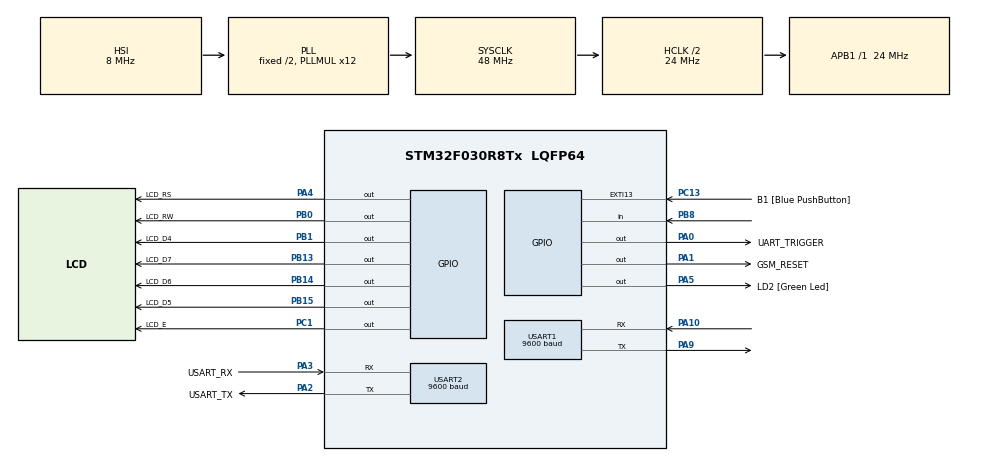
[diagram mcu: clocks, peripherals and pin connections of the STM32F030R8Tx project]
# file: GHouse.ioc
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Mcu.Family=STM32F0
Mcu.Name=STM32F030R8Tx
Mcu.Package=LQFP64
NVIC.TIM15_IRQn=true\:0\:0\:false\:false\:true\:true\:true\:true
NVIC.TIM6_IRQn=true\:0\:0\:false\:false\:true\:true\:true\:true
NVIC.USART1_IRQn=true\:0\:0\:false\:false\:true\:true\:true\:true
NVIC.USART2_IRQn=true\:0\:0\:false\:false\:true\:true\:true\:true
PA0.GPIO_Label=UART_TRIGGER
PA0.Signal=GPIO_Output
PA1.GPIO_Label=GSM_RESET
PA1.GPIO_PuPd=GPIO_PULLDOWN
PA1.PinState=GPIO_PIN_SET
PA1.Signal=GPIO_Output
PA10.Mode=Asynchronous
PA10.Signal=USART1_RX
PA13.GPIO_Label=TMS
PA13.Signal=SYS_SWDIO
PA14.GPIO_Label=TCK
PA14.Signal=SYS_SWCLK
PA2.GPIO_Label=USART_TX
PA2.GPIO_Mode=GPIO_MODE_AF_PP
PA2.GPIO_PuPd=GPIO_NOPULL
PA2.GPIO_Speed=GPIO_SPEED_FREQ_LOW
PA2.Mode=Asynchronous
PA2.Signal=USART2_TX
PA3.GPIO_Label=USART_RX
PA3.GPIO_Mode=GPIO_MODE_AF_PP
PA3.GPIO_PuPd=GPIO_NOPULL
PA3.GPIO_Speed=GPIO_SPEED_FREQ_LOW
PA3.Mode=Asynchronous
PA3.Signal=USART2_RX
PA4.GPIO_Label=LCD_RS
PA4.Signal=GPIO_Output
PA5.GPIO_Label=LD2 [Green Led]
PA5.GPIO_Mode=GPIO_MODE_OUTPUT_PP
PA5.GPIO_PuPd=GPIO_NOPULL
PA5.GPIO_Speed=GPIO_SPEED_FREQ_LOW
PA5.Signal=GPIO_Output
PA9.Mode=Asynchronous
PA9.Signal=USART1_TX
PB0.GPIO_Label=LCD_RW
PB0.Signal=GPIO_Output
PB1.GPIO_Label=LCD_D4
PB1.Signal=GPIO_Output
PB13.GPIO_Label=LCD_D7
PB13.Signal=GPIO_Output
PB14.GPIO_Label=LCD_D6
PB14.Signal=GPIO_Output
PB15.GPIO_Label=LCD_D5
PB15.Signal=GPIO_Output
PB8.Signal=GPIO_Input
PC1.GPIO_Label=LCD_E
PC1.Signal=GPIO_Output
PC13.GPIO_Label=B1 [Blue PushButton]
PC13.GPIO_ModeDefaultEXTI=GPIO_MODE_IT_FALLING
PC13.Signal=GPXTI13
PC14-OSC32_IN.Signal=RCC_OSC32_IN
PC15-OSC32_OUT.Signal=RCC_OSC32_OUT
PF0-OSC_IN.Signal=RCC_OSC_IN
PF1-OSC_OUT.Signal=RCC_OSC_OUT
ProjectManager.HeapSize=0x200
ProjectManager.StackSize=0x400
ProjectManager.TargetToolchain=MDK-ARM V5.32
RCC.AHBCLKDivider=RCC_SYSCLK_DIV2
RCC.AHBFreq_Value=24000000
RCC.APB1Freq_Value=24000000
RCC.APB1TimFreq_Value=24000000
RCC.HCLKFreq_Value=24000000
RCC.I2c1ClockSelection=RCC_I2C1CLKSOURCE_SYSCLK
RCC.PLLMUL=RCC_PLL_MUL12
RCC.SYSCLKFreq_VALUE=48000000
RCC.SYSCLKSource=RCC_SYSCLKSOURCE_PLLCLK
TIM15.Period=60000
TIM15.Prescaler=24000-1
TIM3.AutoReloadPreload=TIM_AUTORELOAD_PRELOAD_DISABLE
TIM3.ClockDivision=TIM_CLOCKDIVISION_DIV1
TIM3.Prescaler=96-1
TIM6.Period=3000
TIM6.Prescaler=24000-1
USART1.BaudRate=9600
USART1.VirtualMode-Asynchronous=VM_ASYNC
USART2.BaudRate=9600
USART2.VirtualMode-Asynchronous=VM_ASYNC
VP_TIM15_VS_ClockSourceINT.Mode=Internal
VP_TIM3_VS_ClockSourceINT.Mode=Internal
VP_TIM6_VS_ClockSourceINT.Mode=Enable_Timer
board=NUCLEO-F030R8

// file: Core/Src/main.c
/* USER CODE BEGIN Header */
/**
  ******************************************************************************
  * @file           : main.c
  * @brief          : Main program body
  ******************************************************************************
  * @attention
  *
  * Copyright (c) 2022 STMicroelectronics.
  * All rights reserved.
  *
  * This software is licensed under terms that can be found in the LICENSE file
  * in the root directory of this software component.
  * If no LICENSE file comes with this software, it is provided AS-IS.
  *
  ******************************************************************************
  */
/* USER CODE END Header */
#include "main.h"
#include "tim.h"
#include "usart.h"
#include "gpio.h"

/* USER CODE BEGIN Includes */
//#include "i2c-lcd.h"
//#include "dht22.h"
#include <stdio.h>
#include <string.h>
#include <cstdlib>
#include <lcd2004-parallel.h>

/* USER CODE END Includes */

/* USER CODE BEGIN PD */
#define gsmUART 								huart2
#define wifi_uart 							huart1
#define DATA_MESSAGE_BUFF_SIZE 	42
#define OUT_DATA_IDX						0
#define GWH_DATA_IDX						1
#define GSM_RESET_TIME_MS 			300//reset_A6 pin of gsm A6 pulled low for (ms)
#define GSM_MAX_SYNC_SENDS			10 		//maximum count of AT sends before resetting GSM module
#define GSM_PUSH_INTERVAL_MIN		5

typedef struct
  {
		char id[4];
		float humidity, temperature;
		int time_index;
		//char *humStr, *tempStr, *id_str;
  } DHT_DataStore, ptrDHT_DataStore;

/* USER CODE END PD */

/* USER CODE BEGIN PV */
	char API_KEY[] = "NEX4VYBFJEKPI156";//Debug: "E7BV47IONFYVV2LA";// G-House : "NEX4VYBFJEKPI156";

DHT_DataStore init_data = {"-I-", 3.3, -99.9, 5};
DHT_DataStore new_data = {"-N-", 3.3, -99.9, 5};
DHT_DataStore last_OUT_data, last_GWH_data;
DHT_DataStore *last_data_sets[2] = {&init_data, &init_data};

char wifi_rx_buffer[DATA_MESSAGE_BUFF_SIZE] = {0};
volatile uint8_t buf[256] = {0};
uint8_t one_buf[1] = {0};
char msg[50];
char cmd[50];
int flag = 1;
int tim15_cnt = 0;
int cnt = 0;
uint32_t check;

// FLAGS -------------------------------------------------------------
int DATA_RXD_FLAG = 0;
int GSM_TEST_FLAG = 1;
int POLL_DATA_TRIGGER_FLAG = 0;
int PUSH_DATA_GSM_FLAG = 0;
int GSM_UART_RXD_ZERO = 0;
int GSM_UART_ONE_BUFF = 0;

/* USER CODE END PV */

void SystemClock_Config(void);
/* USER CODE BEGIN PFP */
/*void delay (uint16_t us);
void Set_Pin_Output (GPIO_TypeDef *GPIOx, uint16_t GPIO_PIN);
void Set_Pin_Input (GPIO_TypeDef *GPIOx, uint16_t GPIO_PIN);
void DHT22_Start (void);
uint8_t DHT22_Check_Response (void);
uint8_t DHT22_Read_Byte (void);
void DHT22_GetData(DHT_DataTypedef *DHT_Data);*/

int pollData_UART(DHT_DataStore *data);// uint8_t buffer[]);
int pollData_UART_IT(DHT_DataStore *data);
int pollData_UART_Serial(DHT_DataStore *data);
void saveData(char message[], DHT_DataStore *data);
void display_DHTData_LCD(DHT_DataStore *data);
void setup_DataDisplay_LCD();
int is_empty(char *buf, size_t size);

void send_GSM_Data();
int check_A6(void);
void send_String_A6(const char* cmd, uint16_t timeout);
void reset_A6();

//void SWRST_I2C2();
/* USER CODE END PFP */

int main(void)
{

  /* MCU Configuration--------------------------------------------------------*/

  /* Reset of all peripherals, Initializes the Flash interface and the Systick. */
  HAL_Init();

  /* Configure the system clock */
  SystemClock_Config();

  /* Initialize all configured peripherals */
  MX_GPIO_Init();
  MX_TIM3_Init();
  MX_USART2_UART_Init();
  MX_USART1_UART_Init();
  MX_TIM6_Init();
  MX_TIM15_Init();
  /* USER CODE BEGIN 2 */
	HAL_TIM_Base_Start(&htim3);
	HAL_TIM_Base_Start_IT(&htim6);
	HAL_TIM_Base_Start_IT(&htim15);

	lcd_init ();
	lcd_set_cursor_to_line(1); //set pointer to first line
  lcd_send_string (" Welcome ");
	lcd_set_cursor_to_line(2); //set pointer to third line
  lcd_send_string ("    at   ");
	lcd_set_cursor_to_line(3); //set pointer to third line
	lcd_send_string("  G-House ");

	HAL_Delay(1000);
	lcd_clear();
	lcd_init ();
	setup_DataDisplay_LCD();
	//display_DHTData_LCD(&init_data);

	HAL_Delay(2000);

	//HAL_UART_Receive_IT(wifi_uart, (uint8_t *) wifi_rx_buffer, sizeof(wifi_rx_buffer));
	HAL_GPIO_WritePin(GPIOA, UART_TRIGGER_Pin, GPIO_PIN_RESET);
	reset_A6();

  /* USER CODE END 2 */

  /* Infinite loop */
  /* USER CODE BEGIN WHILE */
	POLL_DATA_TRIGGER_FLAG = 0;
	PUSH_DATA_GSM_FLAG = 0;
	tim15_cnt = 0;

  while (1)
  {

		/*if (!HAL_GPIO_ReadPin(GPIOA, UART_TRIGGER_Pin))
		{
			HAL_GPIO_WritePin(GPIOA, UART_TRIGGER_Pin, GPIO_PIN_SET);
		}*/
		if (cnt == 4){
				PUSH_DATA_GSM_FLAG = 1;
				tim15_cnt = 0;
				cnt++;
			}

		if (POLL_DATA_TRIGGER_FLAG)
		{
			cnt++;

			if (pollData_UART(&new_data) == 1)
			{
				//saveData(wifi_rx_buffer, &new_data);
				display_DHTData_LCD(&new_data);//&new_data);
				//HAL_GPIO_WritePin(GPIOA, UART_TRIGGER_Pin, GPIO_PIN_RESET);
				DATA_RXD_FLAG++;
			}
			POLL_DATA_TRIGGER_FLAG = 0;
		}
	if (PUSH_DATA_GSM_FLAG)
		{

			//HAL_TIM_Base_DeInit(&htim6);

			send_GSM_Data();

			//HAL_TIM_Base_Init(&htim6);
			//HAL_TIM_Base_Start_IT(&htim15);

			PUSH_DATA_GSM_FLAG = 0;
		}

    /* USER CODE END WHILE */

  }
}

void SystemClock_Config(void)
{
  RCC_OscInitTypeDef RCC_OscInitStruct = {0};
  RCC_ClkInitTypeDef RCC_ClkInitStruct = {0};
  RCC_PeriphCLKInitTypeDef PeriphClkInit = {0};

  /** Initializes the RCC Oscillators according to the specified parameters
  * in the RCC_OscInitTypeDef structure.
  */
  RCC_OscInitStruct.OscillatorType = RCC_OSCILLATORTYPE_HSI;
  RCC_OscInitStruct.HSIState = RCC_HSI_ON;
  RCC_OscInitStruct.HSICalibrationValue = RCC_HSICALIBRATION_DEFAULT;
  RCC_OscInitStruct.PLL.PLLState = RCC_PLL_ON;
  RCC_OscInitStruct.PLL.PLLSource = RCC_PLLSOURCE_HSI;
  RCC_OscInitStruct.PLL.PLLMUL = RCC_PLL_MUL12;
  RCC_OscInitStruct.PLL.PREDIV = RCC_PREDIV_DIV1;
  if (HAL_RCC_OscConfig(&RCC_OscInitStruct) != HAL_OK)
  {
    Error_Handler();
  }

  /** Initializes the CPU, AHB and APB buses clocks
  */
  RCC_ClkInitStruct.ClockType = RCC_CLOCKTYPE_HCLK|RCC_CLOCKTYPE_SYSCLK
                              |RCC_CLOCKTYPE_PCLK1;
  RCC_ClkInitStruct.SYSCLKSource = RCC_SYSCLKSOURCE_PLLCLK;
  RCC_ClkInitStruct.AHBCLKDivider = RCC_SYSCLK_DIV2;
  RCC_ClkInitStruct.APB1CLKDivider = RCC_HCLK_DIV1;

  if (HAL_RCC_ClockConfig(&RCC_ClkInitStruct, FLASH_LATENCY_1) != HAL_OK)
  {
    Error_Handler();
  }
  PeriphClkInit.PeriphClockSelection = RCC_PERIPHCLK_USART1;
  PeriphClkInit.Usart1ClockSelection = RCC_USART1CLKSOURCE_PCLK1;
  if (HAL_RCCEx_PeriphCLKConfig(&PeriphClkInit) != HAL_OK)
  {
    Error_Handler();
  }
}

/* USER CODE BEGIN 4 */

/*void SWRST_I2C2(){
	I2C2->CR1 &= ~(1<<0);
	check = I2C2->CR1 & (1);
	if(check == 0){
		I2C2->CR1 |= (1<<0);
	}
}*/

void HAL_TIM_PeriodElapsedCallback(TIM_HandleTypeDef *htim)
{
	if (htim == &htim6)
		{
		if( !(PUSH_DATA_GSM_FLAG))
		{
			POLL_DATA_TRIGGER_FLAG = 1;
		}
	}

	if (htim == &htim15 && !(PUSH_DATA_GSM_FLAG))
		{
		tim15_cnt++;
		if (tim15_cnt == GSM_PUSH_INTERVAL_MIN)
			{
			tim15_cnt = 0;
			PUSH_DATA_GSM_FLAG = 1;
			__HAL_TIM_SET_COUNTER(&htim15, 0);
			}
		}
}

void HAL_UART_RxCpltCallback(UART_HandleTypeDef *huart)
{
    if (huart == &gsmUART){
			GSM_UART_RXD_ZERO = 0;
			GSM_UART_ONE_BUFF = 0;
			//HAL_UART_Receive_IT (&gsmUART, buf, sizeof(buf));
			/*if (GSM_UART_RXD_ZERO && GSM_UART_ONE_BUFF){
				if (one_buf[0] == 0){
					GSM_UART_RXD_ZERO = 1;
					HAL_UART_Receive_IT(&gsmUART, one_buf,1);
				}
				else {
					GSM_UART_RXD_ZERO = 0;
					GSM_UART_ONE_BUFF = 0;
					HAL_UART_Receive_IT (&gsmUART, buf, sizeof(buf));
				}
			}
			*/
		}
}

int pollData_UART(DHT_DataStore *data) {
	char buffer[DATA_MESSAGE_BUFF_SIZE]={0};
	HAL_UART_Init(&wifi_uart);

	HAL_GPIO_WritePin(GPIOA, UART_TRIGGER_Pin, GPIO_PIN_SET);

	HAL_UART_Receive(&wifi_uart, (uint8_t *) buffer, DATA_MESSAGE_BUFF_SIZE, 3000);
	HAL_GPIO_WritePin(GPIOA, UART_TRIGGER_Pin, GPIO_PIN_RESET);

	//HAL_UART_Transmit(pc_uart, (uint8_t *) "Received message: \n", sizeof("Received message: \n"), 1000);
	//HAL_UART_Transmit(pc_uart, (uint8_t *) buffer, DATA_MESSAGE_BUFF_SIZE, 1000);

	HAL_UART_DeInit(&wifi_uart);

	if (is_empty(buffer, sizeof(buffer)) == 0){	//check if received message is 0 buffer
		saveData(buffer, data);
	}
	else {
		return 0;
	}

	//HAL_GPIO_WritePin(GPIOA, UART_TRIGGER_Pin, GPIO_PIN_RESET);
	return 1;

}

int pollData_UART_Serial(DHT_DataStore *data) {
	char buffer[DATA_MESSAGE_BUFF_SIZE]={0};
	HAL_UART_Init(&wifi_uart);
	//HAL_Delay(100);

	HAL_UART_Transmit(&wifi_uart, (uint8_t *) "GETDATA\n", sizeof("GETDATA\n"), 1000);

	//HAL_GPIO_WritePin(GPIOA, UART_TRIGGER_Pin, GPIO_PIN_SET);

	HAL_UART_Receive(&wifi_uart, (uint8_t *) buffer, DATA_MESSAGE_BUFF_SIZE, 3000);
	//HAL_GPIO_WritePin(GPIOA, UART_TRIGGER_Pin, GPIO_PIN_RESET);

	//HAL_UART_Transmit(pc_uart, (uint8_t *) "Received message: \n", sizeof("Received message: \n"), 1000);
	//HAL_UART_Transmit(pc_uart, (uint8_t *) buffer, DATA_MESSAGE_BUFF_SIZE, 1000);

	HAL_UART_DeInit(&wifi_uart);

	if (is_empty(buffer, sizeof(buffer)) == 0){	//check if received message is 0 buffer
		saveData(buffer, data);
	}
	else {
		return 0;
	}

	//HAL_GPIO_WritePin(GPIOA, UART_TRIGGER_Pin, GPIO_PIN_RESET);
	return 1;

}

int pollData_UART_IT(DHT_DataStore *data) {
	char buffer[DATA_MESSAGE_BUFF_SIZE]={0};
	HAL_UART_Init(&wifi_uart);

	HAL_GPIO_WritePin(GPIOA, UART_TRIGGER_Pin, GPIO_PIN_SET);

	HAL_UART_Receive_IT(&wifi_uart, (uint8_t *) buffer, DATA_MESSAGE_BUFF_SIZE);
	//HAL_UART_Receive(wifi_uart, (uint8_t *) buffer, DATA_MESSAGE_BUFF_SIZE, 3000);
	HAL_GPIO_WritePin(GPIOA, UART_TRIGGER_Pin, GPIO_PIN_RESET);

	//HAL_UART_Transmit(pc_uart, (uint8_t *) "Received message: \n", sizeof("Received message: \n"), 1000);
	//HAL_UART_Transmit(pc_uart, (uint8_t *) buffer, DATA_MESSAGE_BUFF_SIZE, 1000);

	HAL_UART_DeInit(&wifi_uart);

	if (is_empty(buffer, sizeof(buffer)) == 0){	//check if received message is 0 buffer
		saveData(buffer, data);
	}
	else {
		return 0;
	}

	//HAL_GPIO_WritePin(GPIOA, UART_TRIGGER_Pin, GPIO_PIN_RESET);
	return 1;

}

void saveData(char message[], DHT_DataStore *data){//(char message[], DHT_DataStore *data){
	char *token;
  char *token_list[5];
  char *cstr = &message[0];

   /* get the first token */
  token = strtok(cstr, "+");

   /* walk through other tokens */
	int i = 0;
	while( token != NULL ) {
		token_list[i] = token;
    i++;
    token = strtok(NULL, "+");
  }
  int n_tokens = i;

  for(int x = 0; x < n_tokens; x++){
		char *attr;
    attr = strtok(token_list[x], ":");

    char *val;
		char nl[] = "\n";
		val = strtok(NULL, ":");

		if (strcmp("Device",attr)==0){
			strcpy(data->id, val);
			//data->id_str = val;
		}
    else if (strcmp("Temperature",attr)==0){
      data->temperature = atof(val);
			//data->tempStr = val;
					//printf(data->temperature);
    }
    else if (strcmp("Humidity",attr)==0){
			data->humidity = atof(val);
			//data->humStr = val;
					//printf(data->humidity);
    }
  }

	if (strcmp(data->id, "OUT")==0){
		memcpy(&last_OUT_data,data, sizeof(DHT_DataStore));
		last_data_sets[OUT_DATA_IDX] = &last_OUT_data;
	}
	else if (strcmp(data->id, "GWH")==0){
		memcpy(&last_GWH_data, data, sizeof(DHT_DataStore));
		last_data_sets[GWH_DATA_IDX] = &last_GWH_data;
	}
}

void display_DHTData_LCD(DHT_DataStore *data){
		//HAL_I2C_Init(&hi2c1);
		//SWRST_I2C2();

		int slot_offset;
		if ((strcmp(data->id,"GWH")==0)||(strcmp(data->id,"SGS")==0)){
			slot_offset = 6;
		}
		else if ((strcmp(data->id,"OUT")==0)||(strcmp(data->id,"SOS")==0)){
			slot_offset = 0;
		}
		else return;

		lcd_send_cmd(0x80|(0x07+slot_offset));		//clear Devicename
		lcd_send_string("   ");
		lcd_send_cmd(0x80|(0x1a+slot_offset));	//clear Temperature
		lcd_send_string("     ");
		lcd_send_cmd(0x80|(0x5b+slot_offset));	//clear Humidity
		lcd_send_string("     ");

		int offset = 0;
		float t = data->temperature;
		float h = data->humidity;

		lcd_send_cmd(0x80|(0x07+slot_offset));	//display Devicename
		lcd_send_string(data->id);

		if ((t < 0.0 && t > -10.0)||(t >= 10.0)){
			offset = 1;
		}
		else if (t >= 0.0 && t < 10.0){
			offset = 2;
		}
		char t_buffer[6];
		sprintf(t_buffer, "%.1f", t);
		lcd_send_cmd(0x80|(0x1a+offset+slot_offset));	//display Temperature
		lcd_send_string(t_buffer);

		if (h < 10.0){
			offset = 1;
		}
		else{
			offset = 0;
		}
		char h_buffer[6];
		sprintf(h_buffer, "%.1f", h);
		lcd_send_cmd(0x80|(0x5b+offset+slot_offset));	//doisplay Humidity
		lcd_send_string(h_buffer);
		//HAL_I2C_DeInit(&hi2c1);
}

void setup_DataDisplay_LCD(){
	lcd_set_cursor_to_line(1); //set pointer to first line
  lcd_send_string ("ID   :");
	lcd_set_cursor_to_line(3); //set pointer to first line
  lcd_send_string ("Temp :");
	lcd_set_cursor_to_line(4); //set pointer to third line
  lcd_send_string ("r.Hum:");
	lcd_send_cmd(0x80|0x26);
	lcd_send_data(0xdf);	//degree sign
	lcd_send_cmd(0x80|0x27);
	lcd_send_string("C");
	lcd_send_cmd(0x80|0x67);
	lcd_send_data(0x25);	// percent sign
}

void send_GSM_Data(){

	reset_A6();
	float temp_OUT = last_data_sets[OUT_DATA_IDX]->temperature;
	float hum_OUT = last_data_sets[OUT_DATA_IDX]->humidity;
	float temp_GWH = last_data_sets[GWH_DATA_IDX]->temperature;
	float hum_GWH = last_data_sets[GWH_DATA_IDX]->humidity;
	HAL_UART_Init(&gsmUART);

	//synchronize gsm module
	if(check_A6()==0){
		sprintf(msg,"Couldn't synchronize A6.\r\n");
		//HAL_UART_Transmit(&huart2,(uint8_t *)msg,strlen(msg),1000);
	}
	send_String_A6("AT+CSQ\r\n", 1000);
	send_String_A6("AT+CPIN?\r\n", 1000);
	send_String_A6("AT+CREG=0\r\n", 1000);
	send_String_A6("AT+CREG?\r\n", 1000);
	send_String_A6("AT+CGATT=1\r\n", 1000);
	send_String_A6("AT+CIPMUX=0\r\n", 1000);
	send_String_A6("AT+CSTT=\"internet\",\"\",\"\"\r\n", 2000);
	send_String_A6("AT+CSTT?\r\n", 1000);
	send_String_A6("AT+CIICR\r\n", 1000);
	send_String_A6("AT+CIFSR\r\n", 1000);
	send_String_A6("AT+CIPSTART=\"TCP\",\"api.thingspeak.com\",80\r\n", 4000);
	send_String_A6("AT+CIPSEND\r\n", 2000);

	sprintf(msg, "GET https://api.thingspeak.com/update?api_key=%s&field1=%.1f&field2=%.1f&field3=%.1f&field4=%.1f\r\n",API_KEY, temp_OUT, hum_OUT, temp_GWH, hum_GWH);
	send_String_A6(msg, 4000);

	char ctrlZ[2] = {(char) 0x1A, (char) 0x0D};
	send_String_A6((uint8_t *)ctrlZ, 2000);
	send_String_A6("AT+CIPCLOSE\r\n", 1000);
	send_String_A6("AT+CIPSHUT\r\n", 1000);
	HAL_UART_DeInit(&gsmUART);
	//HAL_UART_AbortReceive_IT(&gsmUART);
}

void reset_A6 (){
	HAL_GPIO_TogglePin(GSM_RESET_GPIO_Port, GSM_RESET_Pin);
	HAL_Delay(GSM_RESET_TIME_MS);
	HAL_GPIO_TogglePin(GSM_RESET_GPIO_Port, GSM_RESET_Pin);
}

int check_A6(void){
	int flag = 1;
	int send_cnt = 0;
	memset(buf,0,sizeof(buf));
	while(flag){
		memset(buf,0,sizeof(buf));
		sprintf(cmd,"AT\r\n");
		//HAL_UART_Transmit(&pcUART,(uint8_t *)cmd,strlen(cmd),1000);
		HAL_UART_Transmit(&gsmUART,(uint8_t *)cmd,strlen(cmd),1000);

		HAL_UART_Receive_IT (&gsmUART, buf, sizeof(buf));
		HAL_Delay(750);
		//HAL_UART_Receive(&gsmUART, buf, 20, 2000);

		if(strstr((char *)buf,"OK")){
			sprintf(msg,"Module Connected\r\n");
			//HAL_UART_Transmit(&pcUART,(uint8_t *)msg,strlen(msg),1000);
			flag = 0;
		}
		HAL_Delay(250);

		send_cnt++;
		if (send_cnt == 30){	//reset_A6 GSM board if not responding after GSM_MAX_SYNC_SENDS
			reset_A6();
			send_cnt = 0;
		}
	}
	//HAL_UART_AbortReceive_IT(&gsmUART);
	return 1;
}

void send_String_A6(const char* cmd_str, uint16_t delay){
	uint8_t buf2[200] = {0};
	one_buf[0] = 0;
	GSM_UART_RXD_ZERO = 1;
	GSM_UART_ONE_BUFF = 1;
	memset(buf, 0,sizeof(buf));

	sprintf(msg, cmd_str);

	HAL_UART_Transmit(&gsmUART,(uint8_t *)msg,strlen(msg),1000);
	HAL_UART_Receive_IT (&gsmUART, buf, sizeof(buf));

	/*while(GSM_UART_RXD_ZERO){
		one_buf[0] = 0;
		HAL_UART_Receive_IT (&gsmUART, one_buf, 1);
	}
	GSM_UART_ONE_BUFF = 0;
	HAL_UART_Receive_IT (&gsmUART, buf2, sizeof(buf2));
	*/

	HAL_Delay(delay);

	HAL_UART_AbortReceive_IT (&gsmUART);
}

int is_empty(char *buf, size_t size)
{
    return buf[0] == 0 && !memcmp(buf, buf + 1, size - 1);
}

/* USER CODE END 4 */

void Error_Handler(void)
{
  __disable_irq();
  while (1)
  {
  }
}
